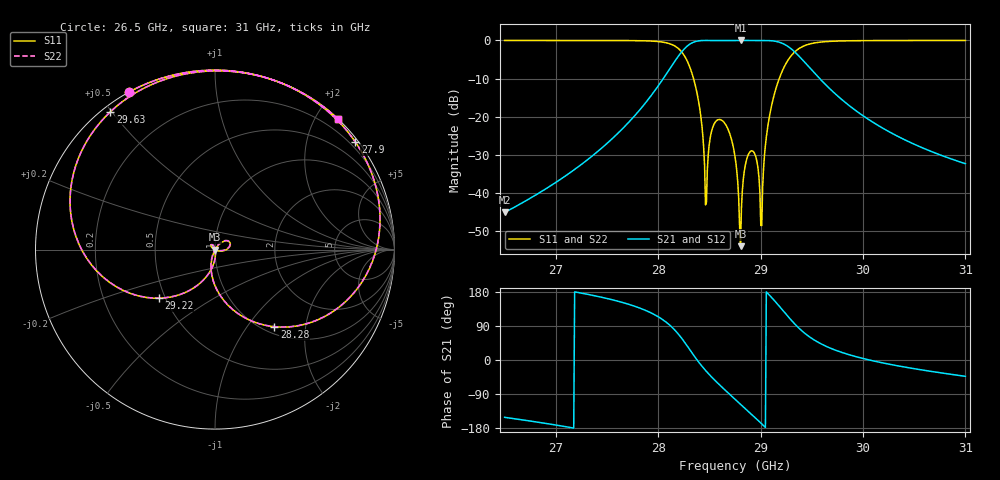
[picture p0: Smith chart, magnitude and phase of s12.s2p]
! Touchstone file from project Ka_PF
! Exported from HFSS 15.0.0
! Variables:
!  AA = 0.34in
!  BB = 0.145in
!  M01 = 0.1656in
!  M11 = 0.2127in
!  M12 = 0.1115in
!  M22 = 0.2363in
!  PL = 0.3in
!  RR = 0.035in
!  TT = 0.04in
!Data is not renormalized
# GHZ S DB
! Modal data exported
! Port[1] = 1:1
! Port[2] = 2:1
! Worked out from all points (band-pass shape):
!   501 points, 26.5 GHz to 31 GHz, reference per port
!   highest |S21| = 0.00 dB at 28.8 GHz (marker M1); lowest = -45.2 dB at 26.5 GHz (marker M2)
!   |S21| within 3 dB of the highest: 28.23 GHz to 29.33 GHz (1.104 GHz wide, 3.83 % of centre)
!   lowest |S11| = -54.0 dB at 28.8 GHz (marker M3), VSWR 1.00
!   |S11| at or under -10 dB: 28.35 GHz to 29.18 GHz (836.9 MHz wide, 2.91 % of centre)
!   |S22| runs from -54.0 to 0.0 dB; largest |S21 - S12| = 2.8e-14
!   S11 on the Smith chart (normalised r, x): 26.5 GHz: 0.00, +0.59; 27.9 GHz: 0.07, +2.94; 28.28 GHz: 1.11, -1.36; 29.22 GHz: 0.46, -0.30; 29.63 GHz: 0.02, +0.50; 31 GHz: 0.00, +2.31
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26.5  -0.00 118.6  -45.16 -151.3  -45.16 -151.3  -0.00 118.8
! Gamma ! -0 419.682051348677 -0 419.682066914462
! Port Impedance 262.305532584664 0 262.3062321342 0
27.256  -0.00 86.1  -32.42 176.2  -32.42 176.2  -0.00 86.3
27.904  -0.13 37.5  -15.43 127.6  -15.43 127.6  -0.13 37.7
28.003  -0.30 23.5  -11.82 113.6  -11.82 113.6  -0.30 23.7
28.156  -1.36 -9.4  -5.70 80.7  -5.70 80.7  -1.36 -9.2
28.282  -5.32 -52.5  -1.51 37.6  -1.51 37.6  -5.32 -52.4
28.399  -16.72 -96.6  -0.09 -6.8  -0.09 -6.8  -16.72 -97.0
28.462  -43.16 -110.1  -0.00 -27.4  -0.00 -27.4  -43.16 -124.7
28.516  -24.43 45.6  -0.02 -43.3  -0.02 -43.3  -24.43 47.8
28.579  -20.88 28.8  -0.04 -60.4  -0.04 -60.4  -20.88 30.5
28.75  -30.49 -16.2  -0.00 -103.6  -0.00 -103.6  -30.49 -10.9
28.804  -54.01 -167.7  -0.00 -116.9  -0.00 -116.9  -53.99 113.8
28.849  -32.97 145.0  -0.00 -127.9  -0.00 -127.9  -32.97 139.2
28.903  -29.07 130.4  -0.01 -141.2  -0.01 -141.2  -29.07 127.3
29.011  -48.60 -86.0  -0.00 -168.4  -0.00 -168.4  -48.59 -70.3
29.083  -20.43 -98.1  -0.04 172.0  -0.04 172.0  -20.43 -97.9
29.218  -7.64 -139.2  -0.82 130.7  -0.82 130.7  -7.64 -139.3
29.362  -2.37 177.4  -3.76 87.3  -3.76 87.3  -2.37 177.2
29.506  -0.76 145.9  -7.96 55.9  -7.96 55.9  -0.76 145.8
29.632  -0.32 127.2  -11.53 37.1  -11.53 37.1  -0.32 127.1
30.253  -0.02 79.0  -23.94 -11.0  -23.94 -11.0  -0.02 79.0
31  -0.00 46.9  -32.35 -43.1  -32.35 -43.1  -0.00 46.9
